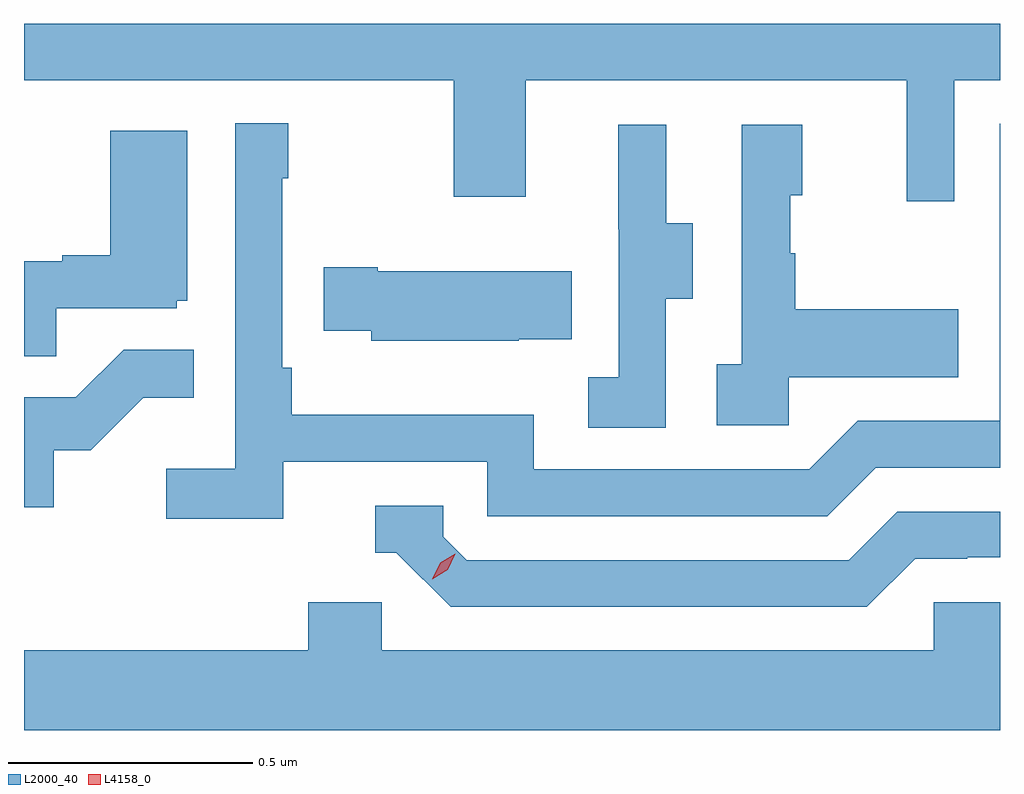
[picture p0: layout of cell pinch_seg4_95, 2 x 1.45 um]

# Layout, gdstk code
import gdstk
lib = gdstk.Library(unit=1e-6, precision=1e-09)
def P(c, l, *ps):  # polygons
    for p in ps: c.add(gdstk.Polygon(p, *l))
L2000_40 = (2000, 40)
L4158_0 = (4158, 0)

pinch_seg4_95 = lib.new_cell('pinch_seg4_95')
P(pinch_seg4_95, L2000_40, [(1079.937,819.464),(1080.031,819.464),(1080.031,819.58),(1078.031,819.58),(1078.031,819.464),(1078.912,819.464),(1078.912,819.225),(1079.059,819.225),(1079.059,819.464),(1079.84,819.464),(1079.84,819.216),(1079.937,819.216)],
  [(1078.562,818.682),(1078.98,818.682),(1078.98,818.571),(1079.677,818.571),(1079.776,818.67),(1080.031,818.67),(1080.031,819.375),(1080.03,819.375),(1080.03,818.766),(1079.739,818.766),(1079.64,818.667),(1079.076,818.667),(1079.076,818.779),(1078.58,818.779),(1078.58,818.875),(1078.56,818.875),(1078.56,819.263),(1078.573,819.263),(1078.573,819.376),(1078.464,819.376),(1078.464,818.668),(1078.323,818.668),(1078.323,818.566),(1078.562,818.566)],
  [(1079.346,819.016),(1079.401,819.016),(1079.401,819.171),(1079.347,819.171),(1079.347,819.373),(1079.249,819.373),(1079.249,819.159),(1079.25,819.159),(1079.25,818.855),(1079.187,818.855),(1079.187,818.752),(1079.346,818.752)],
  [(1079.598,818.855),(1079.945,818.855),(1079.945,818.995),(1079.611,818.995),(1079.611,819.11),(1079.601,819.11),(1079.601,819.228),(1079.626,819.228),(1079.626,819.373),(1079.502,819.373),(1079.502,818.882),(1079.451,818.882),(1079.451,818.757),(1079.598,818.757)],
  [(1078.097,818.997),(1078.344,818.997),(1078.344,819.012),(1078.366,819.012),(1078.366,819.361),(1078.208,819.361),(1078.208,819.106),(1078.109,819.106),(1078.109,819.093),(1078.031,819.093),(1078.031,818.899),(1078.097,818.899)],
  [(1079.045,818.933),(1079.153,818.933),(1079.153,819.073),(1078.756,819.073),(1078.756,819.081),(1078.645,819.081),(1078.645,818.951),(1078.743,818.951),(1078.743,818.93),(1079.045,818.93)],
  [(1078.092,818.706),(1078.168,818.706),(1078.275,818.813),(1078.379,818.813),(1078.379,818.912),(1078.235,818.912),(1078.137,818.814),(1078.031,818.814),(1078.031,818.589),(1078.092,818.589)],
  [(1079.857,818.484),(1079.964,818.484),(1079.964,818.487),(1080.031,818.487),(1080.031,818.58),(1079.82,818.58),(1079.721,818.481),(1078.938,818.481),(1078.89,818.529),(1078.89,818.592),(1078.751,818.592),(1078.751,818.496),(1078.794,818.496),(1078.905,818.385),(1079.758,818.385)],
  [(1080.031,818.394),(1079.895,818.394),(1079.895,818.296),(1078.764,818.296),(1078.764,818.394),(1078.613,818.394),(1078.613,818.296),(1078.031,818.296),(1078.031,818.132),(1080.031,818.132)])
P(pinch_seg4_95, L4158_0, [(1078.868,818.442),(1078.868,818.442),(1078.884,818.475),(1078.915,818.494),(1078.915,818.494),(1078.915,818.494),(1078.899,818.461),(1078.868,818.442)])

lib.write_gds('pinch_seg4_95.gds')
